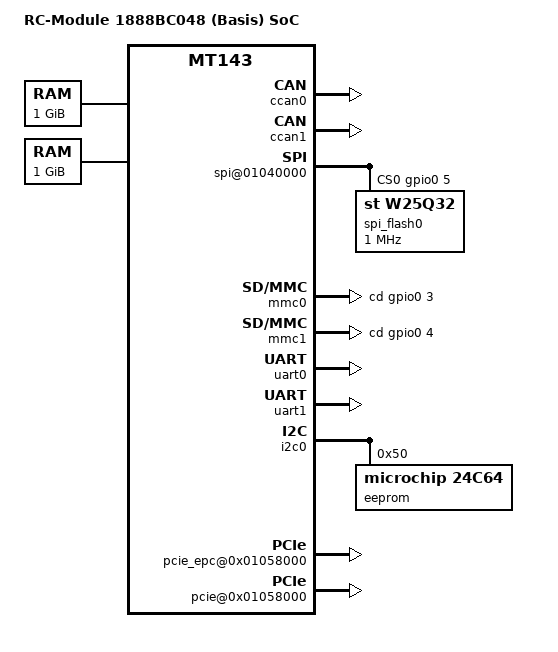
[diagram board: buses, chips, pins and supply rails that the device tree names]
/*
 * Device Tree Source for RCM MT143-05 mainboard
 *
 * This file is licensed under the terms of the GNU General Public
 * License version 2.  This program is licensed "as is" without
 * any warranty of any kind, whether express or implied.
 */

#include "1888bc048.dtsi"

/ {
	model = "RC-Module 1888BC048 (Basis) SoC";

	aliases {
		uart0 = &uart0;
		mmc0 = &mmc0;
	}; 

	chosen {
		// bootargs = "console=ttyRCM0,6250000 earlyprintk debug  memblock=debug";
		// bootargs = "console=ttyRCM0,6250000 earlyprintk debug rootwait";
		// bootargs = "console=ttyRCM0,6250000 root=/dev/mmcblk0p1 rootwait";
		stdout-path = &uart0;
	};

	// 2Gib at 0x80000000
	memory@80000000 {
		device_type = "memory";
		reg = <0x80000000 0x40000000>;
	};

	// 1Gib at 0xC0000000
	memory@C0000000 {
		device_type = "memory";
		reg = <0xC0000000 0x40000000>;
	};

	apbs0 {
		thermal: thermal {
			status = "ok";
		};

		ccan0: c_can@01020000 {
			status = "ok";
		};

		ccan1: c_can@01028000 {
			status = "ok";
		};
	};

	apbs1 {
		spi@01040000 {
			// status = "ok";
			cs-gpios = <&gpio0 5 0>;
			num-cs = <1>;

			spi_flash0@0 {
				compatible = "st,w25q32", "spi-flash";
				reg = <0>;
				spi-max-frequency = <1000000>;
				spi-cpol;
				spi-cpha;
			};
		};

		spi@01041000 {
			// status = "ok";
		};

		mmc0: mmc0@01042000 {
			status = "ok";
			cd-gpios = <&gpio0 3 0>; // GPIO0<3>
		};

		mmc1: mmc1@01043000 {
			status = "ok";
			cd-gpios = <&gpio0 4 0>; // GPIO0<4>
		};

		uart0: uart0@01044000 {
			status = "ok";
		};

		mdma_uart0: dma@01044100 {
			status = "ok";
		};

		uart1: uart1@01045000 {
			status = "ok";
		};

		mdma_uart1: dma@01045100 {
			status = "ok";
		};

		i2c0: i2c@0x01046000 {
			status = "ok";

			eeprom@50 {
				compatible = "microchip,24c64", "atmel,24c64";
				reg = <0x50>;
				pagesize = <32>;
				address-width = <16>;
				size = <8192>;
			};
		};

		timer01@01048000 {
			status = "ok";
		};

		timer23@01049000 {
			// status = "ok";
		};

		timer45@0104a000 {
			// status = "ok";
		};

		timer67@0104b000 {
			// status = "ok";
		};

		pcie_epc@0x01058000 {
			status = "ok";
		};

		pcie@0x01058000 {
			status = "ok";
		};
	};

	apbs2 {
		wd@0108f000 {
			status = "ok";
		};

		gpio0: gpio0@01088000 {
			status = "ok";
		};

		gpio1: gpio1@01089000 {
			status = "ok";
		};

		gpio2: gpio0@0108a000 {
			status = "ok";
		};

		gpio3: gpio0@0108b000 {
			status = "ok";
		};

		gpio4: gpio0@0108c000 {
			status = "ok";
		};
	};

	axi32 {
		L2: l2-cache-controller@0x01106000 {
			status = "ok";
		};	
	};

	thermal-zones {
		cpu-thermal {
			polling-delay-passive = <0>;
			polling-delay =  <1000>;
			thermal-sensors = <&thermal>;

			trips {
				cpu-crit {
					temperature = <100000>;
					hysteresis = <0>;
					type = "critical";
				};
			};

			cooling-maps {
			};
		};
	};
};

// Ethernet
#include "mt143-02.dtsi"

